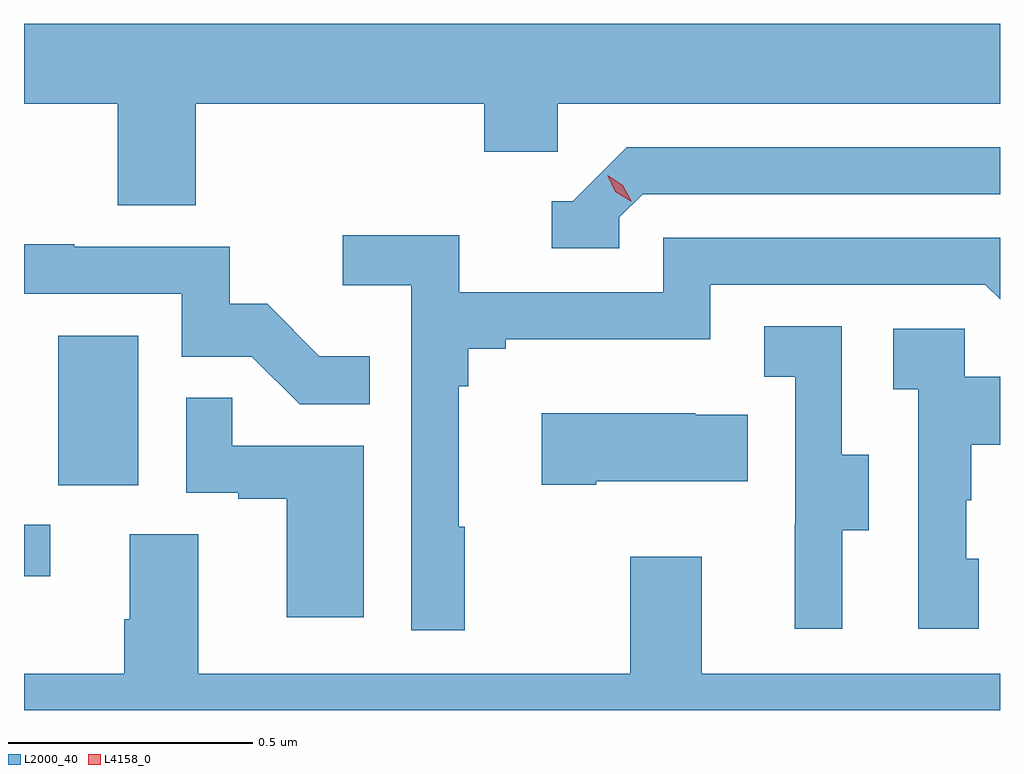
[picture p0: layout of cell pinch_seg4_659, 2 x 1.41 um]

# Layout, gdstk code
import gdstk
lib = gdstk.Library(unit=1e-6, precision=1e-09)
def R(c, l, rs):  # rectangles x0, y0, x1, y1
    for r in rs: c.add(gdstk.rectangle(r[:2], r[2:], *l))
def P(c, l, *ps):  # polygons
    for p in ps: c.add(gdstk.Polygon(p, *l))
L2000_40 = (2000, 40)
L4158_0 = (4158, 0)

pinch_seg4_659 = lib.new_cell('pinch_seg4_659')
R(pinch_seg4_659, L2000_40, [(1070.566,766.548,1070.62,766.653), (1070.636,766.734,1070.8,767.041)])
P(pinch_seg4_659, L2000_40, [(1070.918,767.516),(1071.509,767.516),(1071.509,767.418),(1071.66,767.418),(1071.66,767.516),(1072.566,767.516),(1072.566,767.68),(1070.566,767.68),(1070.566,767.516),(1070.758,767.516),(1070.758,767.308),(1070.918,767.308)],
  [(1071.786,767.283),(1071.834,767.331),(1072.566,767.331),(1072.566,767.427),(1071.801,767.427),(1071.69,767.316),(1071.647,767.316),(1071.647,767.22),(1071.786,767.22)],
  [(1071.469,766.649),(1071.457,766.649),(1071.457,766.937),(1071.476,766.937),(1071.476,767.014),(1071.553,767.014),(1071.553,767.033),(1071.972,767.033),(1071.972,767.145),(1072.536,767.145),(1072.566,767.115),(1072.566,767.241),(1071.876,767.241),(1071.876,767.13),(1071.458,767.13),(1071.458,767.246),(1071.219,767.246),(1071.219,767.144),(1071.36,767.144),(1071.36,766.437),(1071.469,766.437)],
  [(1071.275,766.999),(1071.171,766.999),(1071.064,767.106),(1070.988,767.106),(1070.988,767.223),(1070.669,767.223),(1070.669,767.228),(1070.566,767.228),(1070.566,767.127),(1070.889,767.127),(1070.889,766.998),(1071.033,766.998),(1071.131,766.9),(1071.275,766.9)],
  [(1072.243,766.642),(1072.297,766.642),(1072.297,766.797),(1072.242,766.797),(1072.242,767.06),(1072.083,767.06),(1072.083,766.957),(1072.146,766.957),(1072.146,766.653),(1072.145,766.653),(1072.145,766.44),(1072.243,766.44)],
  [(1072.522,766.584),(1072.497,766.584),(1072.497,766.703),(1072.507,766.703),(1072.507,766.817),(1072.566,766.817),(1072.566,766.957),(1072.494,766.957),(1072.494,767.055),(1072.347,767.055),(1072.347,766.931),(1072.398,766.931),(1072.398,766.44),(1072.522,766.44)],
  [(1071.262,766.815),(1070.993,766.815),(1070.993,766.913),(1070.898,766.913),(1070.898,766.719),(1071.005,766.719),(1071.005,766.707),(1071.104,766.707),(1071.104,766.464),(1071.262,766.464)],
  [(1071.739,766.742),(1072.049,766.742),(1072.049,766.879),(1071.941,766.879),(1071.941,766.882),(1071.627,766.882),(1071.627,766.735),(1071.739,766.735)],
  [(1072.566,766.348),(1071.955,766.348),(1071.955,766.588),(1071.808,766.588),(1071.808,766.348),(1070.923,766.348),(1070.923,766.634),(1070.783,766.634),(1070.783,766.46),(1070.771,766.46),(1070.771,766.348),(1070.566,766.348),(1070.566,766.273),(1072.566,766.273)])
P(pinch_seg4_659, L4158_0, [(1071.809,767.316),(1071.778,767.336),(1071.762,767.368),(1071.762,767.369),(1071.762,767.369),(1071.793,767.349),(1071.81,767.317),(1071.81,767.316)])

lib.write_gds('pinch_seg4_659.gds')
